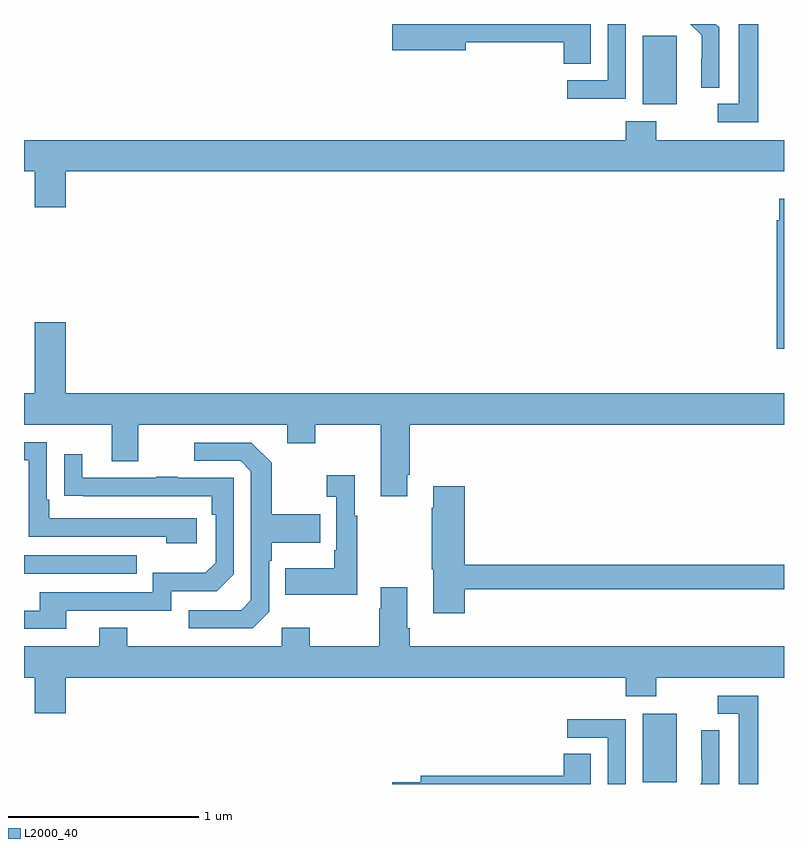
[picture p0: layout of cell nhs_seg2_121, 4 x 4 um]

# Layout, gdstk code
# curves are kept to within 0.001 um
import gdstk
lib = gdstk.Library(unit=1e-6, precision=1e-09)
def R(c, l, rs):  # rectangles x0, y0, x1, y1
    for r in rs: c.add(gdstk.rectangle(r[:2], r[2:], *l))
def P(c, l, *ps):  # polygons
    for p in ps: c.add(gdstk.Polygon(p, *l))
L2000_40 = (2000, 40)

nhs_seg2_121 = lib.new_cell('nhs_seg2_121')
R(nhs_seg2_121, L2000_40, [(120.257,589.809,120.436,590.17), (117,590.907,117.593,591.003), (120.257,593.378,120.436,593.739)])
P(nhs_seg2_121, L2000_40, [(120.66,593.782),(120.642,593.8),(120.506,593.8),(120.566,593.741),(120.566,593.618),(120.564,593.618),(120.564,593.464),(120.66,593.464)],
  [(120.865,593.8),(120.761,593.8),(120.761,593.379),(120.651,593.379),(120.651,593.283),(120.865,593.283)],
  [(119.983,593.8),(118.938,593.8),(118.938,593.662),(119.326,593.662),(119.326,593.704),(119.84,593.704),(119.84,593.59),(119.983,593.59)],
  [(120.168,593.8),(120.072,593.8),(120.072,593.505),(119.859,593.505),(119.859,593.407),(120.168,593.407)],
  [(117.22,593.024),(121,593.024),(121,593.188),(120.327,593.188),(120.327,593.287),(120.167,593.287),(120.167,593.188),(117,593.188),(117,593.024),(117.056,593.024),(117.056,592.836),(117.22,592.836)],
  [(121,592.879),(120.974,592.879),(120.974,592.766),(120.962,592.766),(120.962,592.092),(121,592.092)],
  [(119.017,591.427),(119.03,591.427),(119.03,591.692),(121,591.692),(121,591.856),(117.22,591.856),(117.22,592.231),(117.056,592.231),(117.056,591.856),(117,591.856),(117,591.692),(117.461,591.692),(117.461,591.498),(117.601,591.498),(117.601,591.692),(118.385,591.692),(118.385,591.593),(118.533,591.593),(118.533,591.692),(118.877,591.692),(118.877,591.315),(119.017,591.315)],
  [(117.91,591.198),(117.133,591.198),(117.133,591.295),(117.12,591.295),(117.12,591.6),(117,591.6),(117,591.504),(117.024,591.504),(117.024,591.102),(117.749,591.102),(117.749,591.068),(117.91,591.068)],
  [(118.29,590.706),(118.29,590.975),(118.303,590.975),(118.303,591.071),(118.559,591.071),(118.559,591.219),(118.303,591.219),(118.303,591.491),(118.197,591.597),(117.897,591.597),(117.897,591.501),(118.14,591.501),(118.194,591.447),(118.194,590.766),(118.143,590.715),(117.867,590.715),(117.867,590.619),(118.203,590.619)],
  [(117.223,590.712),(117.774,590.712),(117.774,590.814),(118.014,590.814),(118.104,590.904),(118.104,591.411),(117.809,591.411),(117.809,591.416),(117.697,591.416),(117.697,591.411),(117.307,591.411),(117.307,591.535),(117.211,591.535),(117.211,591.316),(117.988,591.315),(117.988,591.218),(118.008,591.218),(118.008,590.964),(117.955,590.911),(117.678,590.911),(117.678,590.808),(117.083,590.808),(117.083,590.712),(117,590.712),(117,590.616),(117.223,590.616)],
  [(118.753,591.211),(118.741,591.211),(118.741,591.424),(118.593,591.424),(118.593,591.311),(118.644,591.311),(118.644,591.031),(118.632,591.031),(118.632,590.935),(118.375,590.935),(118.375,590.795),(118.753,590.795)],
  [(119.321,590.826),(121,590.826),(121,590.954),(119.321,590.954),(119.321,591.367),(119.153,591.367),(119.153,591.254),(119.146,591.254),(119.146,590.931),(119.153,590.931),(119.153,590.7),(119.321,590.7)],
  [(117.22,590.36),(120.167,590.36),(120.167,590.261),(120.327,590.261),(120.327,590.36),(121,590.36),(121,590.524),(119.03,590.524),(119.03,590.62),(119.017,590.62),(119.017,590.836),(118.877,590.836),(118.877,590.723),(118.87,590.723),(118.87,590.524),(118.503,590.524),(118.503,590.623),(118.356,590.623),(118.356,590.524),(117.543,590.524),(117.543,590.623),(117.395,590.623),(117.395,590.524),(117,590.524),(117,590.36),(117.056,590.36),(117.056,590.172),(117.22,590.172)],
  [(120.865,590.265),(120.651,590.265),(120.651,590.169),(120.761,590.169),(120.761,589.8),(120.865,589.8)],
  [(120.168,590.142),(119.859,590.142),(119.859,590.043),(120.072,590.043),(120.072,589.8),(120.168,589.8)],
  [(120.66,590.084),(120.564,590.084),(120.564,589.93),(120.566,589.93),(120.566,589.808),(120.558,589.8),(120.66,589.8)],
  [(119.983,589.958),(119.84,589.958),(119.84,589.844),(119.087,589.844),(119.087,589.808),(118.938,589.808),(118.938,589.8),(119.983,589.8)])

lib.write_gds('nhs_seg2_121.gds')
